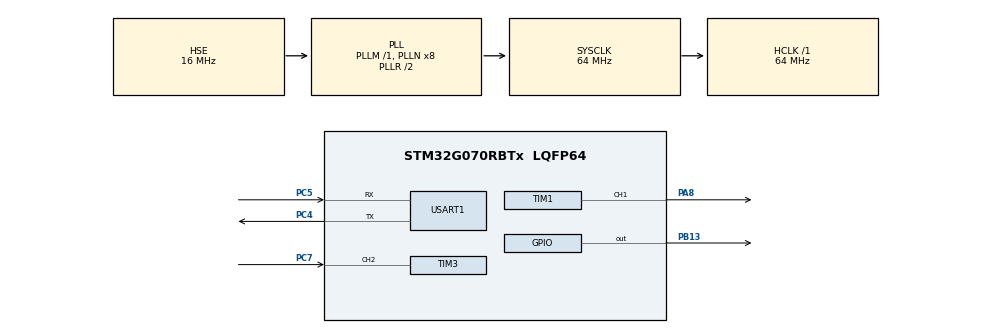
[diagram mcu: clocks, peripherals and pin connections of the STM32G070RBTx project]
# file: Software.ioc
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Mcu.Family=STM32G0
Mcu.Name=STM32G070RBTx
Mcu.Package=LQFP64
NVIC.TIM3_IRQn=true\:0\:0\:false\:false\:true\:true\:true\:true
PA13.Mode=Serial_Wire
PA13.Signal=SYS_SWDIO
PA14-BOOT0.Mode=Serial_Wire
PA14-BOOT0.Signal=SYS_SWCLK
PA8.Signal=S_TIM1_CH1
PB13.Signal=GPIO_Output
PC4.Mode=Asynchronous
PC4.Signal=USART1_TX
PC5.Mode=Asynchronous
PC5.Signal=USART1_RX
PC7.Signal=S_TIM3_CH2
PF0-OSC_IN\ (PF0).Mode=HSE-External-Oscillator
PF0-OSC_IN\ (PF0).Signal=RCC_OSC_IN
PF1-OSC_OUT\ (PF1).Mode=HSE-External-Oscillator
PF1-OSC_OUT\ (PF1).Signal=RCC_OSC_OUT
ProjectManager.HeapSize=0x200
ProjectManager.StackSize=0x400
ProjectManager.TargetToolchain=Makefile
RCC.ADCFreq_Value=64000000
RCC.AHBFreq_Value=64000000
RCC.CortexFreq_Value=64000000
RCC.EXTERNAL_CLOCK_VALUE=48000
RCC.HCLKFreq_Value=64000000
RCC.HSE_VALUE=16000000
RCC.HSI_VALUE=16000000
RCC.LSE_VALUE=32768
RCC.PLLSourceVirtual=RCC_PLLSOURCE_HSE
RCC.SYSCLKFreq_VALUE=64000000
RCC.SYSCLKSource=RCC_SYSCLKSOURCE_PLLCLK
RCC.VCOOutputFreq_Value=128000000
SH.S_TIM1_CH1.0=TIM1_CH1,PWM Generation1 CH1
SH.S_TIM3_CH2.0=TIM3_CH2,Input_Capture2_from_TI2
TIM1.Channel-PWM\ Generation1\ CH1=TIM_CHANNEL_1
TIM1.Period=24999
TIM1.Prescaler=63
TIM3.Channel-Input_Capture2_from_TI2=TIM_CHANNEL_2
TIM3.ICPolarity_CH2=TIM_INPUTCHANNELPOLARITY_RISING
TIM3.Period=0xFFFF
TIM3.Prescaler=63
USART1.VirtualMode-Asynchronous=VM_ASYNC
board=custom

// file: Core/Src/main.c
/* USER CODE BEGIN Header */
/**
  ******************************************************************************
  * @file           : main.c
  * @brief          : Main program body
  ******************************************************************************
  * @attention
  *
  * Copyright (c) 2025 STMicroelectronics.
  * All rights reserved.
  *
  * This software is licensed under terms that can be found in the LICENSE file
  * in the root directory of this software component.
  * If no LICENSE file comes with this software, it is provided AS-IS.
  *
  ******************************************************************************
  */
/* USER CODE END Header */
#include "main.h"

/* USER CODE BEGIN PD */
#define RPM_SETPOINT 5000
#define CONTROL_LOOP_PERIOD_MS 100
/* USER CODE END PD */

TIM_HandleTypeDef htim1;
TIM_HandleTypeDef htim3;

UART_HandleTypeDef huart1;

void SystemClock_Config(void);
static void MX_GPIO_Init(void);
static void MX_TIM3_Init(void);
static void MX_USART1_UART_Init(void);
static void MX_TIM1_Init(void);

/* USER CODE BEGIN 0 */
static heartbeat_led_t heartbeat_led;
static tachometer_t fan_tachometer;
static fan_controller_t fan_controller;
static pid_controller_t pid;
static lp_filter_t rpm_filter;

static volatile uint8_t command = 0;

/* USER CODE END 0 */

int main(void)
{

  /* MCU Configuration--------------------------------------------------------*/

  /* Reset of all peripherals, Initializes the Flash interface and the Systick. */
  HAL_Init();

  /* Configure the system clock */
  SystemClock_Config();

  /* Initialize all configured peripherals */
  MX_GPIO_Init();
  MX_TIM3_Init();
  MX_USART1_UART_Init();
  MX_TIM1_Init();
  /* USER CODE BEGIN 2 */

  /********** Fan Speed controller (PWM) ************/

  fan_speed_controller_init(&fan_controller, &htim1);
  fan_set_rpm_percent(&fan_controller, 0);

  /************************************************ */
  /* Initialize logging subsystem, mapped to UART1 */

  logging_subsystem_init(&huart1);
  logging_set_message_frequency(2000);

  /***********************************************/
  /********* Initialize heartbeat LED (1 Hz)******/

  heartbeat_initialize(&heartbeat_led, 1000);
  heartbeat_on(&heartbeat_led);

  /**********************************************/
  /*********** Fan DC speed sensor **************/

  tachometer_init(&fan_tachometer, &htim3, CONTROL_LOOP_PERIOD_MS);

  /******************************************** */
  /****** First order LP filter for Tachometer **/

  low_pass_filter_init(&rpm_filter, 0.3, CONTROL_LOOP_PERIOD_MS);

  /******************************************************* */
  /*****************   PID controller ******************** */

  pid_controller_init(&pid, 0.01, 0.015, 0.001, CONTROL_LOOP_PERIOD_MS);

  /*********************************************************/

  /* USER CODE END 2 */

  /* Infinite loop */
  while (1)
  {

    /* USER CODE BEGIN 3 */

    /**************************** CONTROL LOOP (10 Hz) ****************** */
    tachometer_update_rpm(&fan_tachometer, HAL_GetTick());
    low_pass_filter_update(&rpm_filter, fan_tachometer.current_rpm, HAL_GetTick());
    uint8_t command = pid_controller_step(&pid, (uint32_t)rpm_filter.last_sample, RPM_SETPOINT, HAL_GetTick());
    if(command != PID_NO_UPDATE)
    {
      fan_set_rpm_percent(&fan_controller, command);
    }
    /******************************************************************** */

    /************************** HEARTBEAT LED & PERIODIC UART MESSAGES ****** */
    heartbeat_toggle(&heartbeat_led, HAL_GetTick());
    logging_send_periodic_msg(HAL_GetTick(), "Fan RPM: %d \n", fan_tachometer.current_rpm);
    /************************************************************************ */

  }
  /* USER CODE END 3 */
}

void SystemClock_Config(void)
{
  RCC_OscInitTypeDef RCC_OscInitStruct = {0};
  RCC_ClkInitTypeDef RCC_ClkInitStruct = {0};

  /** Configure the main internal regulator output voltage
  */
  HAL_PWREx_ControlVoltageScaling(PWR_REGULATOR_VOLTAGE_SCALE1);

  /** Initializes the RCC Oscillators according to the specified parameters
  * in the RCC_OscInitTypeDef structure.
  */
  RCC_OscInitStruct.OscillatorType = RCC_OSCILLATORTYPE_HSE;
  RCC_OscInitStruct.HSEState = RCC_HSE_ON;
  RCC_OscInitStruct.PLL.PLLState = RCC_PLL_ON;
  RCC_OscInitStruct.PLL.PLLSource = RCC_PLLSOURCE_HSE;
  RCC_OscInitStruct.PLL.PLLM = RCC_PLLM_DIV1;
  RCC_OscInitStruct.PLL.PLLN = 8;
  RCC_OscInitStruct.PLL.PLLP = RCC_PLLP_DIV2;
  RCC_OscInitStruct.PLL.PLLR = RCC_PLLR_DIV2;
  if (HAL_RCC_OscConfig(&RCC_OscInitStruct) != HAL_OK)
  {
    Error_Handler();
  }

  /** Initializes the CPU, AHB and APB buses clocks
  */
  RCC_ClkInitStruct.ClockType = RCC_CLOCKTYPE_HCLK|RCC_CLOCKTYPE_SYSCLK
                              |RCC_CLOCKTYPE_PCLK1;
  RCC_ClkInitStruct.SYSCLKSource = RCC_SYSCLKSOURCE_PLLCLK;
  RCC_ClkInitStruct.AHBCLKDivider = RCC_SYSCLK_DIV1;
  RCC_ClkInitStruct.APB1CLKDivider = RCC_HCLK_DIV1;

  if (HAL_RCC_ClockConfig(&RCC_ClkInitStruct, FLASH_LATENCY_2) != HAL_OK)
  {
    Error_Handler();
  }
}

static void MX_TIM1_Init(void)
{

  TIM_MasterConfigTypeDef sMasterConfig = {0};
  TIM_OC_InitTypeDef sConfigOC = {0};
  TIM_BreakDeadTimeConfigTypeDef sBreakDeadTimeConfig = {0};

  htim1.Instance = TIM1;
  htim1.Init.Prescaler = 63;
  htim1.Init.CounterMode = TIM_COUNTERMODE_UP;
  htim1.Init.Period = 24999;
  htim1.Init.ClockDivision = TIM_CLOCKDIVISION_DIV1;
  htim1.Init.RepetitionCounter = 0;
  htim1.Init.AutoReloadPreload = TIM_AUTORELOAD_PRELOAD_DISABLE;
  if (HAL_TIM_PWM_Init(&htim1) != HAL_OK)
  {
    Error_Handler();
  }
  sMasterConfig.MasterOutputTrigger = TIM_TRGO_RESET;
  sMasterConfig.MasterOutputTrigger2 = TIM_TRGO2_RESET;
  sMasterConfig.MasterSlaveMode = TIM_MASTERSLAVEMODE_DISABLE;
  if (HAL_TIMEx_MasterConfigSynchronization(&htim1, &sMasterConfig) != HAL_OK)
  {
    Error_Handler();
  }
  sConfigOC.OCMode = TIM_OCMODE_PWM1;
  sConfigOC.Pulse = 0;
  sConfigOC.OCPolarity = TIM_OCPOLARITY_HIGH;
  sConfigOC.OCNPolarity = TIM_OCNPOLARITY_HIGH;
  sConfigOC.OCFastMode = TIM_OCFAST_DISABLE;
  sConfigOC.OCIdleState = TIM_OCIDLESTATE_RESET;
  sConfigOC.OCNIdleState = TIM_OCNIDLESTATE_RESET;
  if (HAL_TIM_PWM_ConfigChannel(&htim1, &sConfigOC, TIM_CHANNEL_1) != HAL_OK)
  {
    Error_Handler();
  }
  sBreakDeadTimeConfig.OffStateRunMode = TIM_OSSR_DISABLE;
  sBreakDeadTimeConfig.OffStateIDLEMode = TIM_OSSI_DISABLE;
  sBreakDeadTimeConfig.LockLevel = TIM_LOCKLEVEL_OFF;
  sBreakDeadTimeConfig.DeadTime = 0;
  sBreakDeadTimeConfig.BreakState = TIM_BREAK_DISABLE;
  sBreakDeadTimeConfig.BreakPolarity = TIM_BREAKPOLARITY_HIGH;
  sBreakDeadTimeConfig.BreakFilter = 0;
  sBreakDeadTimeConfig.BreakAFMode = TIM_BREAK_AFMODE_INPUT;
  sBreakDeadTimeConfig.Break2State = TIM_BREAK2_DISABLE;
  sBreakDeadTimeConfig.Break2Polarity = TIM_BREAK2POLARITY_HIGH;
  sBreakDeadTimeConfig.Break2Filter = 0;
  sBreakDeadTimeConfig.Break2AFMode = TIM_BREAK_AFMODE_INPUT;
  sBreakDeadTimeConfig.AutomaticOutput = TIM_AUTOMATICOUTPUT_DISABLE;
  if (HAL_TIMEx_ConfigBreakDeadTime(&htim1, &sBreakDeadTimeConfig) != HAL_OK)
  {
    Error_Handler();
  }
  HAL_TIM_MspPostInit(&htim1);

}

static void MX_TIM3_Init(void)
{

  TIM_MasterConfigTypeDef sMasterConfig = {0};
  TIM_IC_InitTypeDef sConfigIC = {0};

  htim3.Instance = TIM3;
  htim3.Init.Prescaler = 63;
  htim3.Init.CounterMode = TIM_COUNTERMODE_UP;
  htim3.Init.Period = 0xFFFF;
  htim3.Init.ClockDivision = TIM_CLOCKDIVISION_DIV1;
  htim3.Init.AutoReloadPreload = TIM_AUTORELOAD_PRELOAD_DISABLE;
  if (HAL_TIM_IC_Init(&htim3) != HAL_OK)
  {
    Error_Handler();
  }
  sMasterConfig.MasterOutputTrigger = TIM_TRGO_RESET;
  sMasterConfig.MasterSlaveMode = TIM_MASTERSLAVEMODE_DISABLE;
  if (HAL_TIMEx_MasterConfigSynchronization(&htim3, &sMasterConfig) != HAL_OK)
  {
    Error_Handler();
  }
  sConfigIC.ICPolarity = TIM_INPUTCHANNELPOLARITY_RISING;
  sConfigIC.ICSelection = TIM_ICSELECTION_DIRECTTI;
  sConfigIC.ICPrescaler = TIM_ICPSC_DIV1;
  sConfigIC.ICFilter = 0;
  if (HAL_TIM_IC_ConfigChannel(&htim3, &sConfigIC, TIM_CHANNEL_2) != HAL_OK)
  {
    Error_Handler();
  }

}

static void MX_USART1_UART_Init(void)
{

  huart1.Instance = USART1;
  huart1.Init.BaudRate = 115200;
  huart1.Init.WordLength = UART_WORDLENGTH_8B;
  huart1.Init.StopBits = UART_STOPBITS_1;
  huart1.Init.Parity = UART_PARITY_NONE;
  huart1.Init.Mode = UART_MODE_TX_RX;
  huart1.Init.HwFlowCtl = UART_HWCONTROL_NONE;
  huart1.Init.OverSampling = UART_OVERSAMPLING_16;
  huart1.Init.OneBitSampling = UART_ONE_BIT_SAMPLE_DISABLE;
  huart1.Init.ClockPrescaler = UART_PRESCALER_DIV1;
  huart1.AdvancedInit.AdvFeatureInit = UART_ADVFEATURE_NO_INIT;
  if (HAL_UART_Init(&huart1) != HAL_OK)
  {
    Error_Handler();
  }
  if (HAL_UARTEx_SetTxFifoThreshold(&huart1, UART_TXFIFO_THRESHOLD_1_8) != HAL_OK)
  {
    Error_Handler();
  }
  if (HAL_UARTEx_SetRxFifoThreshold(&huart1, UART_RXFIFO_THRESHOLD_1_8) != HAL_OK)
  {
    Error_Handler();
  }
  if (HAL_UARTEx_DisableFifoMode(&huart1) != HAL_OK)
  {
    Error_Handler();
  }

}

static void MX_GPIO_Init(void)
{
  GPIO_InitTypeDef GPIO_InitStruct = {0};

  /* GPIO Ports Clock Enable */
  __HAL_RCC_GPIOF_CLK_ENABLE();
  __HAL_RCC_GPIOC_CLK_ENABLE();
  __HAL_RCC_GPIOB_CLK_ENABLE();
  __HAL_RCC_GPIOA_CLK_ENABLE();

  /*Configure GPIO pin Output Level */
  HAL_GPIO_WritePin(GPIOB, GPIO_PIN_13, GPIO_PIN_RESET);

  /*Configure GPIO pin : PB13 */
  GPIO_InitStruct.Pin = GPIO_PIN_13;
  GPIO_InitStruct.Mode = GPIO_MODE_OUTPUT_PP;
  GPIO_InitStruct.Pull = GPIO_NOPULL;
  GPIO_InitStruct.Speed = GPIO_SPEED_FREQ_LOW;
  HAL_GPIO_Init(GPIOB, &GPIO_InitStruct);

}

void Error_Handler(void)
{
  __disable_irq();
  while (1)
  {
  }
}
